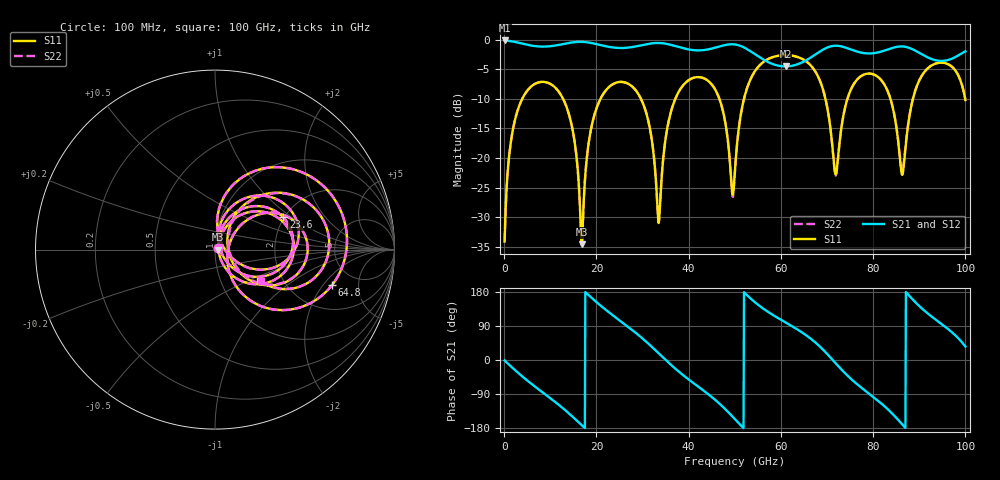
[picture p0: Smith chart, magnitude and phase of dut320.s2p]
! Touchstone file exported from HFSS 2026.1.0
!  File:  C:/ffzhzh/LocalFiles/Ansys_Project_Files/temp_train_TSV_RDL_320_1783701514_44652.aedt
!  Generated:  12:47:11 AM Jul 11, 2026
!  Design:  TSV_RDL
!  Project:  temp_train_TSV_RDL_320_1783701514_44652
! Variables:
!  h_bsmrdl = 4.92um
!  h_ox = 20um
!  h_rdl = 5um
!  h_sub = 76.99um
!  h_tmrdl = 2.96um
!  h_tsv = 76.99um
!  h_via = 3um
!  l_bsmrdl = 236.55um
!  l_sub = 3280.68um
!  l_tmrdl = 516.62um
!  m_sub = 200um
!  pitch = 43.22um
!  r_tsv = 12.14um
!  s_tmrdl = 10um
!  w_bsmrdl = 13.99um
!  w_sub = 500um
!  w_tmrdl = 20.86um
!  x_tsv_center1 = 527.05um
!  x_tsv_center2 = 777.59um
!  x_tsv_center3 = 1315.07um
!  x_tsv_center4 = 1565.61um
!  x_tsv_center5 = 2103.09um
!  x_tsv_center6 = 2353.63um
# GHz S MA R 50.000000
! Terminal data exported
! Port[1] = TM_RDL1_1_T1
! Port[2] = TM_RDL5_1_T1
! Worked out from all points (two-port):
!   1000 points, 100 MHz to 100 GHz, reference 50 ohm
!   highest |S21| = -0.15 dB at 100 MHz (marker M1); lowest = -4.5 dB at 61 GHz (marker M2)
!   |S21| within 3 dB of the highest: start of sweep to 55.7 GHz; 66.24 GHz to 92.22 GHz (25.99 GHz wide, 32.8 % of centre) (the widest 2 of 3)
!   lowest |S11| = -34.6 dB at 16.8 GHz (marker M3), VSWR 1.04, Z = 51.9 + j0.0459 ohm
!   |S11| at or under -10 dB: 12.77 GHz to 20.89 GHz (8.123 GHz wide, 48.3 % of centre); 29.66 GHz to 37.12 GHz (7.461 GHz wide, 22.3 % of centre); 46.65 GHz to 52.01 GHz (5.352 GHz wide, 10.8 % of centre) (the widest 3 of 7)
!   |S22| runs from -34.9 to -2.6 dB; largest |S21 - S12| = 1.3e-12
!   S11 on the Smith chart (normalised r, x): 100 MHz: 1.03, +0.02; 23.6 GHz: 1.98, +0.86; 64.8 GHz: 3.33, -2.47; 100 GHz: 1.54, -0.60
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0.1  0.01966 31.1  0.9833 -1.2  0.9833 -1.2  0.01966 31.1
! Gamma 0 0 0 0
! Port Impedance 50 0 50 0
2.5  0.2212 55.8  0.9525 -28.3  0.9525 -28.3  0.2212 55.8
8.2  0.4394 3.8  0.8725 -84.0  0.8725 -84.0  0.4394 3.7
14  0.2368 -48.9  0.9362 -140.5  0.9362 -140.5  0.2368 -49.1
16.8  0.01866 1.4  0.9564 -171.7  0.9564 -171.7  0.01797 1.0
19.2  0.2039 64.9  0.9309 161.5  0.9309 161.5  0.2038 65.0
23.6  0.4209 25.3  0.8577 117.6  0.8577 117.6  0.4207 25.3
30.2  0.2825 -32.5  0.9035 54.7  0.9035 54.7  0.2823 -32.4
33.4  0.02993 -2.4  0.9358 18.8  0.9358 18.8  0.03029 -1.6
36.1  0.2403 70.7  0.9036 -12.0  0.9036 -12.0  0.2406 70.5
40.6  0.468 31.2  0.8183 -56.9  0.8183 -56.9  0.4683 31.1
50.1  0.08494 76.1  0.9087 -156.9  0.9087 -156.9  0.08373 77.0
53.4  0.4614 66.2  0.7971 162.6  0.7971 162.6  0.4611 66.4
61  0.7393 8.8  0.5933 99.2  0.5933 99.2  0.7392 8.8
64.8  0.6808 -17.0  0.6474 70.9  0.6474 70.9  0.6809 -17.0
66.7  0.5909 -31.9  0.7149 54.0  0.7149 54.0  0.5909 -31.9
71.9  0.07247 -6.2  0.8878 -8.9  0.8878 -8.9  0.07101 -6.2
76.1  0.4382 25.1  0.8014 -59.5  0.8014 -59.5  0.4379 25.4
83.4  0.3462 -35.0  0.8313 -132.5  0.8313 -132.5  0.3466 -34.2
86.3  0.07197 7.9  0.8753 -169.8  0.8753 -169.8  0.078 8.4
90.9  0.519 36.5  0.738 132.4  0.738 132.4  0.5201 36.0
100  0.3084 -34.9  0.7953 35.4  0.7953 35.4  0.3106 -34.2
